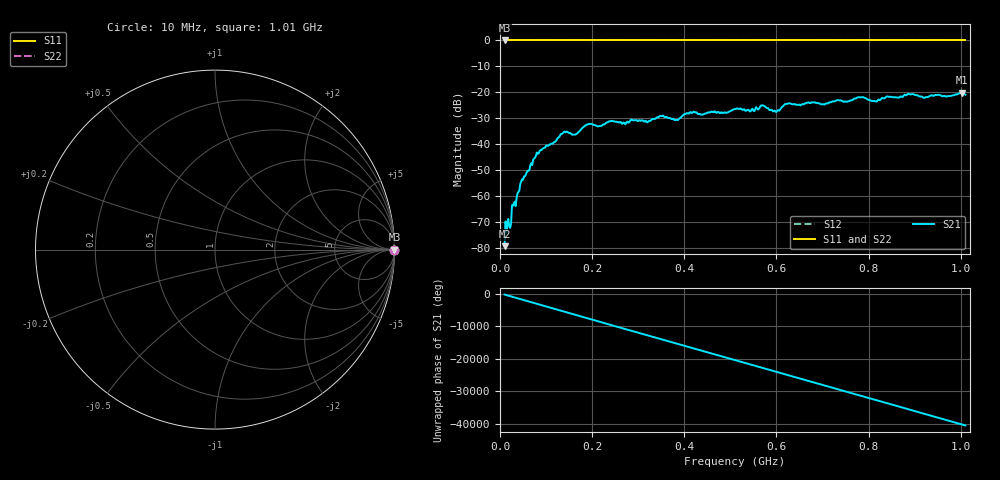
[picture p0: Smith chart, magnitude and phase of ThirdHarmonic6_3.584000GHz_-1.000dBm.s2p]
! 8/17/2025 11:54:38 AM
! C:\ANRITSUVNA\TEMP\TEMP.S2P
! CHANNEL.1
! TR.MEASUREMENT
! RAW.DATA
! RF.CORRECTION.OFF
! AVERAGING.OFF
! IF.BANDWIDTH: 5KHZ
! SWEEPTYPE:  FREQ.SWEEP(Linear)
! Reference Plane Port Info
! PORT:  PORT1  PORT2
! DISTANCE:  0  m  0  m
! TIME:  0  s  0  s
! PHASE.OFFSET:  0  deg.  0  deg.
! LOSS:  0  dB  0  dB
! REF.LOSS:  0  dB  0  dB
! REF.FREQ:  0  Hz  0  Hz
! Power Info
! POWER:  -20  dBm  -20  dBm
! EFF.POWER:  -20  dBm  -20  dBm
! SOURCE.ATTEN:  0  dB  0  dB
! TEST.ATTEN:  0  dB  0  dB
# GHZ S RI R 50.0
! FREQ.GHZ  S11RE  S11IM  S21RE  S21IM  S12RE  S12IM  S22RE  S22IM
!; PortSelection: Port_12
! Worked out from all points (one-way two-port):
!   501 points, 10 MHz to 1.01 GHz, reference 50 ohm
!   highest |S21| = -20.14 dB at 1.002 GHz (marker M1); lowest = -79.1 dB at 10 MHz (marker M2)
!   lowest |S11| = 0.0 dB at 10 MHz (marker M3)
!   |S11| at or under -10 dB: nowhere
!   |S22| runs from 0.0 to 0.0 dB; largest |S21 - S12| = 1.1
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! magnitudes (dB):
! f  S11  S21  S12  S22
! 10 MHz  0.0  -79.1  0.0  0.0
! 16 MHz  0.0  -70.3  0.0  0.0
! 20 MHz  0.0  -71.7  0.0  0.0
! 30 MHz  0.0  -62.8  0.0  0.0
! 48 MHz  0.0  -53.4  0.0  0.0
! 76 MHz  0.0  -45.1  0.0  0.0
! 136 MHz  0.0  -35.7  0.0  0.0
! 162 MHz  0.0  -36.2  0.0  0.0
! 178 MHz  0.0  -33.8  0.0  0.0
! 344 MHz  0.0  -29.6  0.0  0.0
! 382 MHz  0.0  -30.6  0.0  0.0
! 416 MHz  0.0  -27.9  0.0  0.0
! 510 MHz  0.0  -26.4  0.0  0.0
! 570 MHz  0.0  -25.0  0.0  0.0
! 596 MHz  0.0  -27.0  0.0  0.0
! 624 MHz  0.0  -24.4  0.0  0.0
! 678 MHz  0.0  -23.8  0.0  0.0
! 784 MHz  0.0  -21.9  0.0  0.0
! 814 MHz  0.0  -23.4  0.0  0.0
! 844 MHz  0.0  -21.7  0.0  0.0
! 1.002 GHz  0.0  -20.1  0.0  0.0
! 1.01 GHz  0.0  -20.9  0.0  0.0
